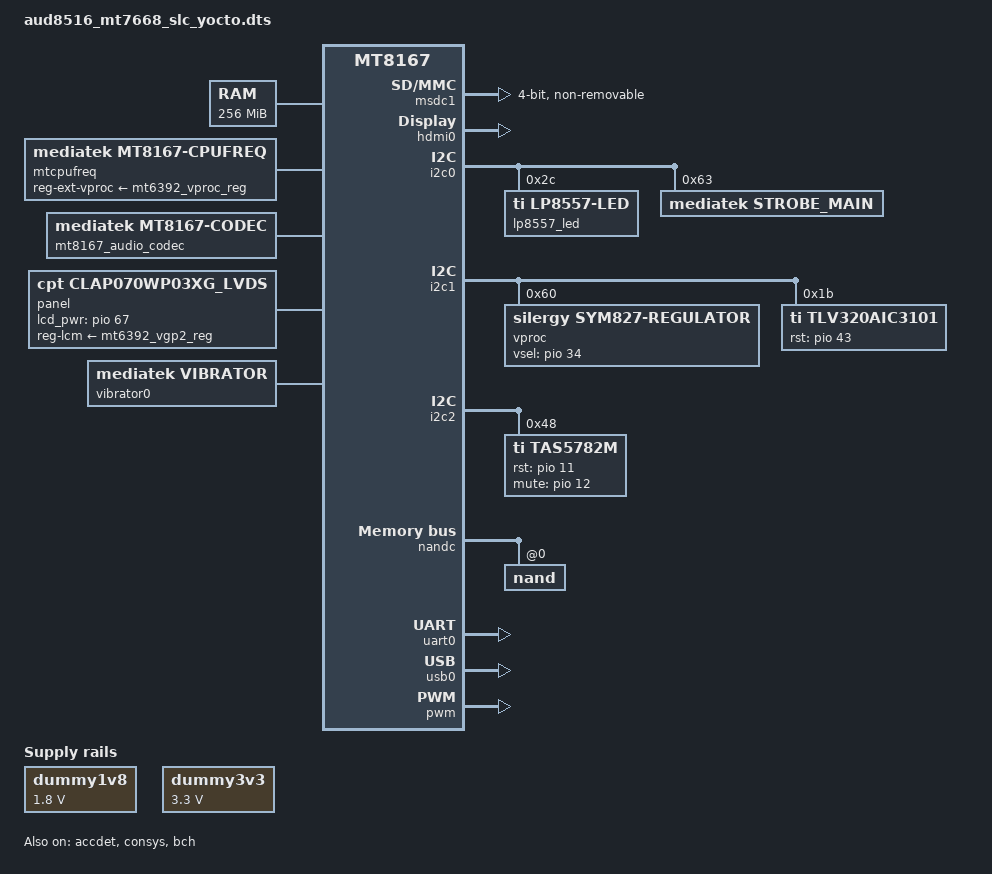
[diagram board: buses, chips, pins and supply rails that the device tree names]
/*
 * Copyright (c) 2014-2015 MediaTek Inc.
 *
 * This program is free software; you can redistribute it and/or modify
 * it under the terms of the GNU General Public License version 2 as
 * published by the Free Software Foundation.
 *
 * This program is distributed in the hope that it will be useful,
 * MERCHANTABILITY or FITNESS FOR A PARTICULAR PURPOSE.  See the
 * GNU General Public License for more details.
 */

/dts-v1/;

#include "mt8167.dtsi"
#include "mt8516-dcdc.dtsi"
#include "mt6392.dtsi"
/ {
	/*
	IMPORTANT: 	If you modify the memory size,please modify mtee-reserved-memory size together.
					mtee must be located begin with the last 3MB of dram
	*/
	memory@00000000 {
		device_type = "memory";
		reg = <0 0x40000000 0 0x10000000>;
	};

	reserved-memory {
		mtee-reserved-memory {
			compatible = "mediatek,mt8167-mtee-reserved-memory";
			no-map;
			reg = <0 0x4FD00000 0 0x300000>;
		};
	};

	/* chosen */
	chosen {
		bootargs = "console=tty0 console=ttyS0,921600n1 earlycon=uart8250,mmio32,0x11005000 ubi.mtd=8 root=ubi0:aud8516-mt7668-slc-rootfs rootfstype=ubifs vmalloc=496M androidboot.hardware=aud8516p1_linux";
	};

/* sensor standardization */
	cust_accel@0 {
		compatible = "mediatek,mpu6050g";
		i2c_num	= <2>;
		i2c_addr = <0x68 0 0 0>;
		direction = <7>;
		power_id = <0xffff>;
		power_vol = <0>;
		firlen = <0>;
		is_batch_supported = <0>;
	};

	cust_gyro@0 {
		compatible = "mediatek,mpu6050gy";
		i2c_num = <2>;
		i2c_addr = <0x68 0 0 0>;
		direction = <7>;
		power_id = <0xffff>;
		power_vol = <0>;
		firlen = <0>;
		is_batch_supported = <0>;
	};

	cust_mag@0 {
		compatible = "mediatek,akm09911";
		i2c_num = <2>;
		i2c_addr = <0x0C 0 0 0>;
		direction = <6>;
		power_id = <0xffff>;
		power_vol = <0>;
		is_batch_supported			= <0>;
	};
/* sensor gpio standization */

	dummy1v8: fixedregulator@0 {
		compatible = "regulator-fixed";
		regulator-name = "mmc_io";
		regulator-min-microvolt = <1800000>;
		regulator-max-microvolt = <1800000>;
		regulator-always-on;
	};

	dummy3v3: fixedregulator@1 {
		compatible = "regulator-fixed";
		regulator-name = "mmc_power";
		regulator-min-microvolt = <3300000>;
		regulator-max-microvolt = <3300000>;
		regulator-always-on;
	};

	ethernet: ethernet@11180000 {
		compatible = "mediatek,mt8516-ethernet";
		reg = <0 0x11180000 0 0x1000>,
		      <0 0x10003400 0 0x1000>;
		interrupts = <GIC_SPI 111 IRQ_TYPE_LEVEL_LOW>;
		eth-gpios = <&pio 34 0>;
		clocks = <&topckgen CLK_TOP_RG_ETH>,
			 <&topckgen CLK_TOP_66M_ETH>,
			 <&topckgen CLK_TOP_133M_ETH>;
		clock-names = "core", "reg", "trans";
		eth-regulator-supply = <&mt6392_vmch_reg>;
		pinctrl-names = "default";
		pinctrl-0 = <&ethernet_pins_default>;
		mac-address = [00 00 00 00 00 00];
		/*local-mac-address = [00 0C E7 06 00 00];*/
		status = "disabled";
	};

/*
	gpio-keys {
		compatible = "gpio-keys";
		pinctrl-names = "default";
		pinctrl-0 = <&blth_key>;

		button@0 {
			debounce_interval = <50>;
			wakeup-source;
			gpio-key,wakeup = <1>;
			gpios = <&pio 60 1>;
			label = "Bluetooth";
			linux,input-type = <0x1>;
			linux,code = <237>;
		};
	};
*/
	msdc1: sdio@11130000 {
		compatible = "mediatek,mt8167-sdio";
		reg = <0 0x11130000 0 0x1000>;
		interrupts = <GIC_SPI 79 IRQ_TYPE_LEVEL_LOW>;
		clocks = <&topckgen CLK_TOP_MSDC1>,
			 <&topckgen CLK_TOP_AHB_INFRA_SEL>,
			 <&topckgen CLK_TOP_MSDC1_INFRA>;
		clock-names = "sdio-bus", "sdio-src", "sdio-src-cg";
		status = "disabled";
	};

	mtcpufreq {
		compatible = "mediatek,mt8167-cpufreq";
		reg-ext-vproc-supply = <&mt6392_vproc_reg>;
	};

	mt8167_audio_codec: mt8167_audio_codec {
		compatible = "mediatek,mt8167-codec";
		clocks = <&topckgen CLK_TOP_AUDIO>;
		clock-names = "bus";
		mediatek,afe-regmap = <&afe>;
		mediatek,apmixedsys-regmap = <&apmixedsys>;
		mediatek,pwrap-regmap = <&pwrap>;
		mediatek,speaker-mode = <0>; /* 0(CLASSD) 1(CLASSAB) */
		mediatek,dmic-wire-mode = <1>; /* 0(ONE_WIRE) 1(TWO_WIRE) */
	};

	panel: panel@0 {
		compatible = "cpt,clap070wp03xg_lvds";
		gpio_lcd_pwr = <&pio 67 0>;
		reg-lcm-supply = <&mt6392_vgp2_reg>;
	};

	sound: sound {
		compatible = "mediatek,mt8167s-som";
		mediatek,platform = <&afe>;
		pinctrl-names = "default";
		pinctrl-0 = <&aud_pins_default>;
		tdmadc-1p8v-supply = <&mt6392_vcn18_reg>;
		tdmadc-3p3v-supply = <&mt6392_vmch_reg>;
		mediatek,audio-codec = <&tas5782m>;
		status = "okay";
	};


	vibrator0:vibrator@0 {
		compatible = "mediatek,vibrator";
		vib_timer = <25>;
		vib_limit = <9>;
		vib_vol= <5>;
	};

	/* Connectivity */
	mediatek,connectivity-combo {
		compatible = "mediatek,connectivity-combo";
		gpio_combo_pmu_en_pin = <&pio 48 0>;	/* GPIO_COMBO_PMU_EN_PIN */
		gpio_combo_rst_pin = <&pio 18 0>;	/* GPIO_COMBO_RST_PIN pin */
		gpio_wifi_eint_pin = <&pio 20 0>;	/* GPIO_WIFI_EINT_PIN */
		gpio_gps_sync_pin = <&pio 4 0>;		/* GPIO_GPS_SYNC_PIN */
		gpio_gps_lna_pin = <&pio 3 0>;		/* GPIO_GPS_LNA_PIN */
		gpio_combo_urxd_pin = <&pio 64 0>;	/* GPIO_COMBO_URXD_PIN */
		gpio_combo_utxd_pin = <&pio 65 0>;	/* GPIO_COMBO_UTXD_PIN */
		pinctrl-names = "gpio_pmu_en_pull_dis",
			"gpio_pmu_en_in_pulldown",
			"gpio_rst_pull_dis",
			"gpio_wifi_eint_in_pull_dis",
			"gpio_wifi_eint_in_pullup",
			"gpio_gps_lna_pull_dis",
			"gpio_gps_sync_pull_dis",
			"gpio_urxd_uart_pull_dis",
			"gpio_urxd_gpio_in_pullup",
			"gpio_urxd_uart_out_low",
			"gpio_urxd_gpio_in_pull_dis",
			"gpio_utxd_uart_pull_dis";
		pinctrl-0 = <&pcfg_combo_pmu_en_pull_dis_cfgs>;
		pinctrl-1 = <&pcfg_combo_pmu_en_in_pulldown_cfgs>;
		pinctrl-2 = <&pcfg_combo_rst_pull_dis_cfgs>;
		pinctrl-3 = <&pcfg_combo_wifi_eint_in_pull_dis_cfgs>;
		pinctrl-4 = <&pcfg_combo_wifi_eint_in_pullup_cfgs>;
		pinctrl-5 = <&pcfg_combo_gps_lna_pull_dis_cfgs>;
		pinctrl-6 = <&pcfg_combo_gps_sync_pull_dis_cfgs>;
		pinctrl-7 = <&pcfg_combo_urxd_uart_pull_dis_cfgs>;
		pinctrl-8 = <&pcfg_combo_urxd_gpio_in_pullup_cfgs>;
		pinctrl-9 = <&pcfg_combo_urxd_uart_out_low_cfgs>;
		pinctrl-10 = <&pcfg_combo_urxd_gpio_in_pull_dis_cfgs>;
		pinctrl-11 = <&pcfg_combo_utxd_uart_pull_dis_cfgs>;
		interrupt-parent = <&pio>;
		interrupts = < 20 IRQ_TYPE_LEVEL_LOW >;	/* WIFI EINT num is 1 active low level-sensitive */
		status = "disable";
	};
};

&accdet {
	interrupts-extended = <&sysirq GIC_SPI 152 IRQ_TYPE_LEVEL_LOW>,
			<&pio 16 IRQ_TYPE_LEVEL_HIGH>;
	eint-debounce = <256000>;
	accdet-gpio = <&pio 16 0>;
	accdet-mic-vol = <7>;
	headset-mode-setting = <0x500 0x500 1 0x1f0 0x800 0x800 0x20>;
	accdet-plugout-debounce = <20>;
	/*1:ACC mode, 2:low cost without in bias, 6:low cost with in bias*/
	accdet-mic-mode = <1>;
	/*0--MD_MAX--UP_MAX--DW_MAX*/
	headset-three-key-threshold = <0 80 220 500>;
	/*0--MD_MAX--VOICE_MAX--UP_MAX--DW_MAX*/
	headset-four-key-threshold = <0 58 121 192 450>;
	status = "okay";
};

&afe {
	/* 0(HDMI) 1(I2S) 2(TDM) */
	mediatek,tdm-out-mode = <1>;
	/* 0(IR1) 1(IRQ2) 4(IRQ7)*/
	mediatek,awb-irq-mode = <4>;
	mediatek,tdm-in-lrck-cycle = <1>;
	/*0(Spearated Mode) 1(Share Mode)*/
	mediatek,i2s-clock-modes = <1 1>;
};

&consys {
	pinctrl-names = "default", "gps_lna_state_init", "gps_lna_state_oh", "gps_lna_state_ol";
	pinctrl-0 = <&consys_pins_default>;
	pinctrl-1 = <&gpslna_pins_init>;
	pinctrl-2 = <&gpslna_pins_oh>;
	pinctrl-3 = <&gpslna_pins_ol>;
	vcn18-supply = <&mt6392_vcn18_reg>;
	vcn35-supply = <&mt6392_vcn35_reg>;
	status = "okay";
};

&cpu0 {
	proc-supply = <&mt6392_vproc_reg>;
};

&cpu1 {
	proc-supply = <&mt6392_vproc_reg>;
};

&cpu2 {
	proc-supply = <&mt6392_vproc_reg>;
};

&cpu3 {
	proc-supply = <&mt6392_vproc_reg>;
};

&hdmi0 {
	pinctrl-names = "default", "hdmi_hpd";
	pinctrl-0 = <&hdmi_pins_default>;
	pinctrl-1 = <&hdmi_pins_hpd>;
	status = "okay";
};

&i2c0 {
	clock-div = <2>;
	pinctrl-names = "default";
	pinctrl-0 = <&i2c0_pins_a>;
	status = "okay";


	lp8557_led@2c {
		compatible = "ti,lp8557-led";
		reg = <0x2c>;
	};

	strobe_main@63 {
		compatible = "mediatek,strobe_main";
		reg = <0x63>;
	};
};

&i2c1 {
	clock-div = <2>;
	pinctrl-names = "default";
	pinctrl-0 = <&i2c1_pins_a>;
	status = "okay";

	vproc: sym827@60 {
		compatible = "silergy,sym827-regulator";
		reg = <0x60>;
		regulator-name = "vproc";
		regulator-min-microvolt = <600000>;
		regulator-max-microvolt = <1387500>;
		regulator-enable-ramp-delay = <400>;
		regulator-ramp-delay = <8333>;
		regulator-always-on;
		vsel-gpio = <&pio 34 0>;
	};
	tlv320aic3101@1b{
		compatible = "ti,tlv320aic3101";
		reg = <0x1b>;
		rst-gpio = <&pio 43 0>;
	};
};

&i2c2 {
	clock-div = <2>;
	pinctrl-names = "default";
	pinctrl-0 = <&i2c2_pins_a>;
	status = "okay";

	tas5782m: tas5782m@48 {
		compatible = "ti,tas5782m";
		reg = <0x48>;
		rst-gpio = <&pio 11 0>;
		mute-gpio = <&pio 12 0>;
	};
};

&irrx {
	pinctrl-names = "default";
	pinctrl-0 = <&irrx_pins_ir_input>;
	status = "disable";
};

&keypad {
	mediatek,kpd-key-debounce = <1024>;
	mediatek,kpd-sw-pwrkey = <116>;
	mediatek,kpd-hw-pwrkey = <8>;
	mediatek,kpd-sw-rstkey  = <114>;
	mediatek,kpd-hw-rstkey = <17>;
	mediatek,kpd-use-extend-type = <0>;
	/*HW Keycode [0~71] -> Linux Keycode*/
	mediatek,kpd-hw-map-num = <72>;
	mediatek,kpd-hw-init-map = <115 113 0 0 0 0 0 0 0 0 0 0 0 0 0 0 0 0 0 0 0 0 0 0
			0 0 0 0 0 0 0 0 0 0 0 0 0 0 0 0 0 0 0 0 0 0 0 0
			0 0 0 0 0 0 0 0 0 0 0 0 0 0 0 0 0 0 0 0 0 0 0 0 >;
	mediatek,kpd-pwrkey-eint-gpio = <0>;
	mediatek,kpd-pwkey-gpio-din  = <0>;
	mediatek,kpd-hw-dl-key0 = <0>;
	mediatek,kpd-hw-dl-key1 = <17>;
	mediatek,kpd-hw-dl-key2 = <8>;
	mediatek,kpd-hw-recovery-key = <17>;
	mediatek,kpd-hw-factory-key  = <0>;
};

&lcm {
	gpio_lcd_pwr = <&pio 67 0>;
	reg-lcm-supply = <&mt6392_vgp2_reg>;
};

&msdc1 {
	pinctrl-names = "default", "state_uhs", "state_dat1", "state_eint";
	pinctrl-0 = <&mmc1_pins_default>;
	pinctrl-1 = <&mmc1_pins_uhs>;
	pinctrl-2 = <&mmc1_pins_dat1>;
	pinctrl-3 = <&mmc1_dat1_eint>;
	eint-gpios = <&pio 107 0>;
	status = "okay";
	bus-width = <4>;
	max-frequency = <200000000>;
	cap-sd-highspeed;
	sd-uhs-sdr50;
	sd-uhs-sdr104;
	keep-power-in-suspend;
	enable-sdio-wakeup;
	cap-sdio-irq;
	non-removable;
};

&bch {
	status = "okay";
};

&nandc {
	pinctrl-names = "default";
	pinctrl-0 = <&nfi_pins_default>;
	vcc-supply = <&mt6392_vemc3v3_reg>;
	status = "okay";
	nand@0 {
		reg = <0>;
		nand-on-flash-bbt;
		nand-ecc-mode = "hw";
	};
};

&pio {
	pinctrl-names = "default";
	pinctrl-0 = <&state_default>;

	state_default:pinconf_default {
	};


pwm_goio_def_cfg: pwmdefault {
		pins_cmd_dat {
			pinmux = <MT8167_PIN_54_DISP_PWM__FUNC_PWM_B>;
			};
};

	aud_pins_default: audiodefault {
		pins_cmd_dat {
			pinmux = <MT8167_PIN_25_EINT25__FUNC_I2S_8CH_MCK>,
				 <MT8167_PIN_71_MSDC2_DAT1__FUNC_I2S_8CH_DO1>,
				 <MT8167_PIN_72_MSDC2_DAT2__FUNC_I2S_8CH_LRCK>,
				 <MT8167_PIN_73_MSDC2_DAT3__FUNC_I2S_8CH_BCK>,
				 <MT8167_PIN_100_CMDAT0__FUNC_TDM_RX_MCK>,
				 <MT8167_PIN_101_CMDAT1__FUNC_TDM_RX_BCK>,
				 <MT8167_PIN_102_CMMCLK__FUNC_TDM_RX_LRCK>,
				 <MT8167_PIN_103_CMPCLK__FUNC_TDM_RX_DI>,
				 <MT8167_PIN_19_EINT19__FUNC_I2S2_DI>,
				 <MT8167_PIN_36_MRG_CLK__FUNC_I2S0_BCK>,
				 <MT8167_PIN_37_MRG_SYNC__FUNC_I2S0_LRCK>,
				 <MT8167_PIN_38_MRG_DI__FUNC_I2S0_DI>,
				 <MT8167_PIN_20_EINT20__FUNC_I2S3_DO>;
				 drive-strength = <MTK_DRIVE_4mA>;
		};
	};
/*
	blth_key: eint60default {

		pins_cmd_dat {
			pins = <MT8167_PIN_60_SDA2__FUNC_GPIO60>;
			slew-rate = <0>;
			bias-pull-up = <MTK_PUPD_SET_R1R0_01>;
			input-enable;
		};

	};
*/

	/* CONSYS GPIO Settings - Start */
	consys_pins_default: default {

	};
	/* CONSYS GPIO Settings - End */

	ethernet_pins_default: ethernet {
		pins_ethernet {
			pinmux = <MT8167_PIN_0_EINT0__FUNC_EXT_TXD0>,
				 <MT8167_PIN_1_EINT1__FUNC_EXT_TXD1>,
				 <MT8167_PIN_2_EINT2__FUNC_EXT_TXD2>,
				 <MT8167_PIN_3_EINT3__FUNC_EXT_TXD3>,
				 <MT8167_PIN_4_EINT4__FUNC_EXT_TXC>,
				 <MT8167_PIN_5_EINT5__FUNC_EXT_RXER>,
				 <MT8167_PIN_6_EINT6__FUNC_EXT_RXC>,
				 <MT8167_PIN_7_EINT7__FUNC_EXT_RXDV>,
				 <MT8167_PIN_8_EINT8__FUNC_EXT_RXD0>,
				 <MT8167_PIN_9_EINT9__FUNC_EXT_RXD1>,
				 <MT8167_PIN_10_EINT10__FUNC_EXT_RXD2>,
				 <MT8167_PIN_11_EINT11__FUNC_EXT_RXD3>,
				 <MT8167_PIN_12_EINT12__FUNC_EXT_TXEN>,
				 <MT8167_PIN_37_MRG_SYNC__FUNC_EXT_COL>,
				 <MT8167_PIN_38_MRG_DI__FUNC_EXT_MDIO>,
				 <MT8167_PIN_39_MRG_DO__FUNC_EXT_MDC>;
		};
	};

	/* CONSYS GPIO Settings - Start */
	gpslna_pins_init: gpslna@0 {
	};

	gpslna_pins_oh: gpslna@1 {
	};

	gpslna_pins_ol: gpslna@2 {
	};
	/* CONSYS GPIO Settings - End */

	hdmi_pins_default: hdmi_pins_default {
	};

	hdmi_pins_hpd: hdmi_pins_hpd {
		pins_cmd_dat {
			pins = <MT8167_PIN_122_HTPLG__FUNC_HTPLG>;
			slew-rate = <0>;
			bias-pull-down;
		};
	};

	i2c0_pins_a: i2c0@0 {
		pins1 {
			pinmux = <MT8167_PIN_58_SDA0__FUNC_SDA0_0>,
				 <MT8167_PIN_59_SCL0__FUNC_SCL0_0>;
			bias-disable;
		};
	};

	i2c1_pins_a: i2c1@0 {
		pins1 {
			pinmux = <MT8167_PIN_52_SDA1__FUNC_SDA1_0>,
				 <MT8167_PIN_53_SCL1__FUNC_SCL1_0>;
			bias-disable;
		};
	};

	i2c2_pins_a: i2c2@0 {
		pins1 {
			pinmux = <MT8167_PIN_60_SDA2__FUNC_SDA2_0>,
				 <MT8167_PIN_61_SCL2__FUNC_SCL2_0>;
			bias-disable;
		};
	};

	irrx_pins_ir_input: irrx_pin_ir {
		pins_cmd_dat {
		pinmux = <MT8167_PIN_36_MRG_CLK__FUNC_IR>;
		bias-disable;
		};
	};

	mmc1_pins_default: mmc1default {
		pins_cmd_dat {
			pinmux = <MT8167_PIN_106_MSDC1_DAT0__FUNC_MSDC1_DAT0>,
				<MT8167_PIN_107_MSDC1_DAT1__FUNC_MSDC1_DAT1>,
				<MT8167_PIN_108_MSDC1_DAT2__FUNC_MSDC1_DAT2>,
				<MT8167_PIN_109_MSDC1_DAT3__FUNC_MSDC1_DAT3>,
				<MT8167_PIN_104_MSDC1_CMD__FUNC_MSDC1_CMD>;
			input-enable;
			drive-strength = <MTK_DRIVE_6mA>;
			bias-pull-up = <MTK_PUPD_SET_R1R0_01>;
		};

		pins_clk {
			pinmux = <MT8167_PIN_105_MSDC1_CLK__FUNC_MSDC1_CLK>;
			drive-strength = <MTK_DRIVE_6mA>;
			bias-pull-down = <MTK_PUPD_SET_R1R0_10>;
		};

		pins_pmu_en {
			pins = <MT8167_PIN_2_EINT2__FUNC_GPIO2>;
			output-low;
		};
	};

	mmc1_pins_uhs: mmc1@0 {
		pins_cmd_dat {
			pinmux = <MT8167_PIN_106_MSDC1_DAT0__FUNC_MSDC1_DAT0>,
				<MT8167_PIN_107_MSDC1_DAT1__FUNC_MSDC1_DAT1>,
				<MT8167_PIN_108_MSDC1_DAT2__FUNC_MSDC1_DAT2>,
				<MT8167_PIN_109_MSDC1_DAT3__FUNC_MSDC1_DAT3>,
				<MT8167_PIN_104_MSDC1_CMD__FUNC_MSDC1_CMD>;
			input-enable;
			drive-strength = <MTK_DRIVE_6mA>;
			bias-pull-up = <MTK_PUPD_SET_R1R0_01>;
		};

		pins_clk {
			pinmux = <MT8167_PIN_105_MSDC1_CLK__FUNC_MSDC1_CLK>;
			drive-strength = <MTK_DRIVE_8mA>;
			bias-pull-down = <MTK_PUPD_SET_R1R0_10>;
		};

		pins_pmu_en {
			pins = <MT8167_PIN_2_EINT2__FUNC_GPIO2>;
			output-high;
		};
	};

	mmc1_pins_dat1: mmc1_dat1 {
		pinmux = <MT8167_PIN_107_MSDC1_DAT1__FUNC_MSDC1_DAT1>;
		input-enable;
		drive-strength = <MTK_DRIVE_6mA>;
		bias-pull-up = <MTK_PUPD_SET_R1R0_01>;
	};

	mmc1_dat1_eint: dat1_eint {
		pinmux = <MT8167_PIN_107_MSDC1_DAT1__FUNC_GPIO107>;
		input-enable;
		bias-pull-up = <MTK_PUPD_SET_R1R0_10>;
	};

	nfi_pins_default: nfidefault {
		pins_dat {
			pinmux = <MT8167_PIN_114_MSDC0_RSTB__FUNC_NLD0>,
				<MT8167_PIN_117_MSDC0_DAT3__FUNC_NLD1>,
				<MT8167_PIN_120_MSDC0_DAT0__FUNC_NLD2>,
				<MT8167_PIN_113_MSDC0_DAT4__FUNC_NLD3>,
				<MT8167_PIN_112_MSDC0_DAT5__FUNC_NLD4>,
				<MT8167_PIN_118_MSDC0_DAT2__FUNC_NLD5>,
				<MT8167_PIN_111_MSDC0_DAT6__FUNC_NLD6>,
				<MT8167_PIN_110_MSDC0_DAT7__FUNC_NLD7>,
				<MT8167_PIN_119_MSDC0_DAT1__FUNC_NLD8>;
			input-enable;
			drive-strength = <MTK_DRIVE_6mA>;
			bias-pull-up;
		};

		pins_cmd {
			pinmux = <MT8167_PIN_14_EINT14__FUNC_NCLE>,
				<MT8167_PIN_17_EINT17__FUNC_NREB>,
				<MT8167_PIN_22_EINT22__FUNC_NRE_C>,
				<MT8167_PIN_23_EINT23__FUNC_NDQS_C>,
				<MT8167_PIN_115_MSDC0_CMD__FUNC_NALE>,
				<MT8167_PIN_116_MSDC0_CLK__FUNC_NWEB>,
				<MT8167_PIN_15_EINT15__FUNC_NCEB1>,
				<MT8167_PIN_16_EINT16__FUNC_NCEB0>,
				<MT8167_PIN_21_EINT21__FUNC_NRNB>;
			drive-strength = <MTK_DRIVE_6mA>;
			bias-pull-up = <MTK_PUPD_SET_R1R0_10>;
		};
	};

/* Connectivity GPIO start */
	pcfg_combo_pmu_en_pull_dis_cfgs:cfg_pmu_en_pull_dis {
		combo_pins {
			pins = <MT8167_PIN_48_SPI_CS__FUNC_GPIO48>;
			bias-disable;
		};
	};

	pcfg_combo_pmu_en_in_pulldown_cfgs:cfg_pmu_en_in_pulldown {
		combo_pins {
			pins = <MT8167_PIN_48_SPI_CS__FUNC_GPIO48>;
			bias-pull-down;
		};
	};

	pcfg_combo_rst_pull_dis_cfgs:cfg_rst_pull_dis {
		combo_pins {
			pins = <MT8167_PIN_18_EINT18__FUNC_GPIO18>;
			bias-disable;
		};
	};

	pcfg_combo_wifi_eint_in_pull_dis_cfgs:cfg_wifi_eint_in_pull_dis {
		combo_pins {
			pins = <MT8167_PIN_20_EINT20__FUNC_GPIO20>;
			slew-rate = <0>;
			bias-disable;
		};
	};

	pcfg_combo_wifi_eint_in_pullup_cfgs:cfg_wifi_eint_in_pullup {
		combo_pins {
			pins = <MT8167_PIN_20_EINT20__FUNC_GPIO20>;
			slew-rate = <0>;
			bias-pull-up = <00>;
		};
	};

	pcfg_combo_gps_lna_pull_dis_cfgs:cfg_gps_lna_pull_dis {
		combo_pins {
			pins = <MT8167_PIN_3_EINT3__FUNC_GPIO3>;
			bias-disable;
		};
	};

	pcfg_combo_gps_sync_pull_dis_cfgs:cfg_gps_sync_pull_dis {
		combo_pins {
			pins = <MT8167_PIN_4_EINT4__FUNC_GPIO4>;
			bias-disable;
		};
	};

	pcfg_combo_urxd_uart_pull_dis_cfgs:cfg_urxd_pull_dis {
		combo_pins {
			pinmux = <MT8167_PIN_64_URXD1__FUNC_URXD1>;
			bias-disable;
		};
	};

	pcfg_combo_urxd_uart_out_low_cfgs:cfg_urxd_out_low {
		combo_pins {
			pinmux = <MT8167_PIN_64_URXD1__FUNC_GPIO64>;
			slew-rate = <1>;
			output-low;
		};
	};

	pcfg_combo_urxd_gpio_in_pullup_cfgs:cfg_urxd_in_pullup {
		combo_pins {
			pinmux = <MT8167_PIN_64_URXD1__FUNC_URXD1>;
			input-enable;
			bias-pull-up;
		};
	};

	pcfg_combo_urxd_gpio_in_pull_dis_cfgs:cfg_urxd_in_pull_dis {
		combo_pins {
			pinmux = <MT8167_PIN_64_URXD1__FUNC_URXD1>;
			input-enable;
			bias-disable;
		};
	};

	pcfg_combo_utxd_uart_pull_dis_cfgs:cfg_utxd_pull_dis {
		combo_pins {
			pinmux = <MT8167_PIN_65_UTXD1__FUNC_UTXD1>;
			bias-disable;
		};
	};
/* Connectivity GPIO end */

/* USB GPIO start */
	usb0_drvvbus: drvvbus_init {
		pins_cmd_dat {
			pins = <MT8167_PIN_49_SPI_CK__FUNC_GPIO49>;
			output-low;
		};
	};

	usb0_drvvbus_high: drvvbus_high {
		pins_cmd_dat {
			pins = <MT8167_PIN_49_SPI_CK__FUNC_GPIO49>;
			slew-rate = <1>;
			output-high;
		};
	};

	usb0_drvvbus_low: drvvbus_low {
		pins_cmd_dat {
			pins = <MT8167_PIN_49_SPI_CK__FUNC_GPIO49>;
			slew-rate = <1>;
			output-low;
		};
	};

	usb0_iddig: iddig_irq_init {
		pins_cmd_dat {
			pins = <MT8167_PIN_41_KPROW1__FUNC_IDDIG>;
			slew-rate = <0>;
			bias-pull-up = <00>;
		};
	};
/* USB GPIO end */

	uart0_pin: uart0default {
		pins_rx {
			pinmux = <MT8167_PIN_62_URXD0__FUNC_URXD0>;
			input-enable;
			bias-pull-up;
		};
		pins_tx {
			pinmux = <MT8167_PIN_63_UTXD0__FUNC_UTXD0>;
		};
	};

	uart1_pin: uart1default {
		pins_rx {
			pinmux = <MT8167_PIN_64_URXD1__FUNC_URXD1>;
			input-enable;
			bias-pull-up;
		};
		pins_tx {
			pinmux = <MT8167_PIN_65_UTXD1__FUNC_UTXD1>;
		};
	};

	uart2_pin: uart2default {
		pins_rx {
			pinmux = <MT8167_PIN_34_URXD2__FUNC_URXD2>;
			input-enable;
			bias-pull-up;
		};
		pins_tx {
			pinmux = <MT8167_PIN_35_UTXD2__FUNC_UTXD2>;
		};
	};
};

&pmic {
	interrupt-parent = <&pio>;
	interrupts = <28 IRQ_TYPE_LEVEL_HIGH>;
	interrupt-controller;
	#interrupt-cells = <2>;

	mt6392keys: mt6392keys {
		compatible = "mediatek,mt6392-keys";
		mediatek,pwrkey-code = <116>;
		mediatek,homekey-code = <114>;
		mediatek,long-press-mode = <0>;
		mediatek,long-press-duration = <0>;
	};
};

&ptp_od {
	vproc-supply = <&mt6392_vproc_reg>;
	vcore-supply = <&mt6392_vcore_reg>;
};

&uart0 {
	status="okay";
};

&uart1 {
	pinctrl-names = "default";
	pinctrl-0 = <&uart1_pin>;
};

&uart2 {
	pinctrl-names = "default";
	pinctrl-0 = <&uart2_pin>;
};

&usb0 {
	interrupts-extended = <&sysirq GIC_SPI 72 IRQ_TYPE_LEVEL_LOW>,
										<&pmic 10 IRQ_TYPE_LEVEL_HIGH>;
	pinctrl-names = "iddig_irq_init", "drvvbus_init", "drvvbus_low", "drvvbus_high";
	pinctrl-0 = <&usb0_iddig>;
	pinctrl-1 = <&usb0_drvvbus>;
	pinctrl-2 = <&usb0_drvvbus_low>;
	pinctrl-3 = <&usb0_drvvbus_high>;
	status = "okay";
	drvvbus_gpio = <&pio 49 2>;
};

&pwm {
	pinctrl-names = "default";
	pinctrl-0 = <&pwm_goio_def_cfg>;
	status = "okay";
};
